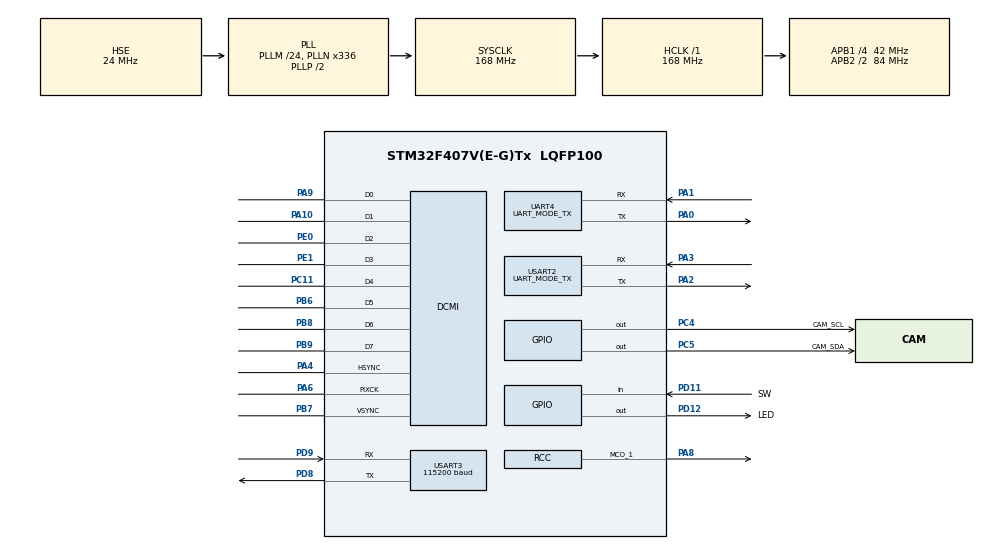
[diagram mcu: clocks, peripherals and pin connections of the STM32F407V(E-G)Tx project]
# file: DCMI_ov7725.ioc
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DCMI.HSPolarity=DCMI_HSPOLARITY_LOW
DCMI.PCKPolarity=DCMI_PCKPOLARITY_RISING
DCMI.VSPolarity=DCMI_VSPOLARITY_HIGH
Dma.DCMI.0.Channel=DMA_CHANNEL_1
Dma.DCMI.0.Direction=DMA_PERIPH_TO_MEMORY
Dma.DCMI.0.FIFOMode=DMA_FIFOMODE_ENABLE
Dma.DCMI.0.FIFOThreshold=DMA_FIFO_THRESHOLD_FULL
Dma.DCMI.0.Instance=DMA2_Stream1
Dma.DCMI.0.MemBurst=DMA_MBURST_INC4
Dma.DCMI.0.MemDataAlignment=DMA_MDATAALIGN_WORD
Dma.DCMI.0.MemInc=DMA_MINC_ENABLE
Dma.DCMI.0.Mode=DMA_CIRCULAR
Dma.DCMI.0.PeriphBurst=DMA_PBURST_SINGLE
Dma.DCMI.0.PeriphDataAlignment=DMA_PDATAALIGN_WORD
Dma.DCMI.0.PeriphInc=DMA_PINC_DISABLE
Dma.DCMI.0.Priority=DMA_PRIORITY_HIGH
Dma.MEMTOMEM.1.Channel=DMA_CHANNEL_0
Dma.MEMTOMEM.1.Direction=DMA_MEMORY_TO_MEMORY
Dma.MEMTOMEM.1.FIFOMode=DMA_FIFOMODE_ENABLE
Dma.MEMTOMEM.1.FIFOThreshold=DMA_FIFO_THRESHOLD_FULL
Dma.MEMTOMEM.1.Instance=DMA2_Stream5
Dma.MEMTOMEM.1.MemBurst=DMA_MBURST_INC16
Dma.MEMTOMEM.1.MemDataAlignment=DMA_MDATAALIGN_BYTE
Dma.MEMTOMEM.1.MemInc=DMA_MINC_ENABLE
Dma.MEMTOMEM.1.Mode=DMA_NORMAL
Dma.MEMTOMEM.1.PeriphBurst=DMA_PBURST_INC16
Dma.MEMTOMEM.1.PeriphDataAlignment=DMA_PDATAALIGN_BYTE
Dma.MEMTOMEM.1.PeriphInc=DMA_PINC_ENABLE
Dma.MEMTOMEM.1.Priority=DMA_PRIORITY_MEDIUM
Dma.Request0=DCMI
Dma.Request1=MEMTOMEM
Dma.Request2=USART3_TX
Dma.Request3=USART2_TX
Dma.Request4=UART4_TX
Dma.UART4_TX.4.Channel=DMA_CHANNEL_4
Dma.UART4_TX.4.Direction=DMA_MEMORY_TO_PERIPH
Dma.UART4_TX.4.FIFOMode=DMA_FIFOMODE_ENABLE
Dma.UART4_TX.4.FIFOThreshold=DMA_FIFO_THRESHOLD_FULL
Dma.UART4_TX.4.Instance=DMA1_Stream4
Dma.UART4_TX.4.MemBurst=DMA_MBURST_INC16
Dma.UART4_TX.4.MemDataAlignment=DMA_MDATAALIGN_BYTE
Dma.UART4_TX.4.MemInc=DMA_MINC_ENABLE
Dma.UART4_TX.4.Mode=DMA_NORMAL
Dma.UART4_TX.4.PeriphBurst=DMA_PBURST_SINGLE
Dma.UART4_TX.4.PeriphDataAlignment=DMA_PDATAALIGN_BYTE
Dma.UART4_TX.4.PeriphInc=DMA_PINC_DISABLE
Dma.UART4_TX.4.Priority=DMA_PRIORITY_LOW
Dma.USART2_TX.3.Channel=DMA_CHANNEL_4
Dma.USART2_TX.3.Direction=DMA_MEMORY_TO_PERIPH
Dma.USART2_TX.3.FIFOMode=DMA_FIFOMODE_ENABLE
Dma.USART2_TX.3.FIFOThreshold=DMA_FIFO_THRESHOLD_FULL
Dma.USART2_TX.3.Instance=DMA1_Stream6
Dma.USART2_TX.3.MemBurst=DMA_MBURST_INC16
Dma.USART2_TX.3.MemDataAlignment=DMA_MDATAALIGN_BYTE
Dma.USART2_TX.3.MemInc=DMA_MINC_ENABLE
Dma.USART2_TX.3.Mode=DMA_NORMAL
Dma.USART2_TX.3.PeriphBurst=DMA_PBURST_SINGLE
Dma.USART2_TX.3.PeriphDataAlignment=DMA_PDATAALIGN_BYTE
Dma.USART2_TX.3.PeriphInc=DMA_PINC_DISABLE
Dma.USART2_TX.3.Priority=DMA_PRIORITY_LOW
Dma.USART3_TX.2.Channel=DMA_CHANNEL_4
Dma.USART3_TX.2.Direction=DMA_MEMORY_TO_PERIPH
Dma.USART3_TX.2.FIFOMode=DMA_FIFOMODE_ENABLE
Dma.USART3_TX.2.FIFOThreshold=DMA_FIFO_THRESHOLD_FULL
Dma.USART3_TX.2.Instance=DMA1_Stream3
Dma.USART3_TX.2.MemBurst=DMA_MBURST_INC16
Dma.USART3_TX.2.MemDataAlignment=DMA_MDATAALIGN_BYTE
Dma.USART3_TX.2.MemInc=DMA_MINC_ENABLE
Dma.USART3_TX.2.Mode=DMA_NORMAL
Dma.USART3_TX.2.PeriphBurst=DMA_PBURST_SINGLE
Dma.USART3_TX.2.PeriphDataAlignment=DMA_PDATAALIGN_BYTE
Dma.USART3_TX.2.PeriphInc=DMA_PINC_DISABLE
Dma.USART3_TX.2.Priority=DMA_PRIORITY_HIGH
Mcu.Family=STM32F4
Mcu.Name=STM32F407V(E-G)Tx
Mcu.Package=LQFP100
NVIC.DCMI_IRQn=true\:4\:0\:true
NVIC.DMA1_Stream3_IRQn=true\:4\:0\:true
NVIC.DMA1_Stream4_IRQn=true\:9\:0\:true
NVIC.DMA1_Stream6_IRQn=true\:9\:0\:true
NVIC.DMA2_Stream1_IRQn=true\:4\:0\:true
NVIC.DMA2_Stream5_IRQn=true\:4\:0\:true
NVIC.PriorityGroup=NVIC_PRIORITYGROUP_4
NVIC.UART4_IRQn=true\:9\:0\:true
NVIC.USART2_IRQn=true\:9\:0\:true
NVIC.USART3_IRQn=true\:4\:0\:true
PA0-WKUP.Mode=Asynchronous
PA0-WKUP.Signal=UART4_TX
PA1.Mode=Asynchronous
PA1.Signal=UART4_RX
PA10.Mode=Slave_8_bits_External_Synchro
PA10.Signal=DCMI_D1
PA13.Mode=Serial-Wire
PA13.Signal=SYS_JTMS-SWDIO
PA14.Mode=Serial-Wire
PA14.Signal=SYS_JTCK-SWCLK
PA2.Mode=Asynchronous
PA2.Signal=USART2_TX
PA3.Mode=Asynchronous
PA3.Signal=USART2_RX
PA4.Mode=Slave_8_bits_External_Synchro
PA4.Signal=DCMI_HSYNC
PA6.Mode=Slave_8_bits_External_Synchro
PA6.Signal=DCMI_PIXCK
PA8.Mode=Clock-out-1
PA8.Signal=RCC_MCO_1
PA9.Mode=Slave_8_bits_External_Synchro
PA9.Signal=DCMI_D0
PB6.Mode=Slave_8_bits_External_Synchro
PB6.Signal=DCMI_D5
PB7.Mode=Slave_8_bits_External_Synchro
PB7.Signal=DCMI_VSYNC
PB8.Mode=Slave_8_bits_External_Synchro
PB8.Signal=DCMI_D6
PB9.Mode=Slave_8_bits_External_Synchro
PB9.Signal=DCMI_D7
PC11.Mode=Slave_8_bits_External_Synchro
PC11.Signal=DCMI_D4
PC4.GPIO_Label=CAM_SCL
PC4.GPIO_ModeDefaultOutputPP=GPIO_MODE_OUTPUT_OD
PC4.GPIO_PuPd=GPIO_PULLUP
PC4.GPIO_Speed=GPIO_SPEED_LOW
PC4.Signal=GPIO_Output
PC5.GPIO_Label=CAM_SDA
PC5.GPIO_ModeDefaultOutputPP=GPIO_MODE_OUTPUT_OD
PC5.GPIO_PuPd=GPIO_PULLUP
PC5.GPIO_Speed=GPIO_SPEED_LOW
PC5.Signal=GPIO_Output
PD11.GPIO_Label=SW
PD11.GPIO_Mode=GPIO_MODE_INPUT
PD11.GPIO_PuPd=GPIO_PULLDOWN
PD11.Signal=GPIO_Input
PD12.GPIO_Label=LED
PD12.GPIO_ModeDefaultOutputPP=GPIO_MODE_OUTPUT_PP
PD12.GPIO_PuPd=GPIO_NOPULL
PD12.GPIO_Speed=GPIO_SPEED_LOW
PD12.Signal=GPIO_Output
PD8.Mode=Asynchronous
PD8.Signal=USART3_TX
PD9.Mode=Asynchronous
PD9.Signal=USART3_RX
PE0.Mode=Slave_8_bits_External_Synchro
PE0.Signal=DCMI_D2
PE1.Mode=Slave_8_bits_External_Synchro
PE1.Signal=DCMI_D3
PH0-OSC_IN.Mode=HSE-External-Oscillator
PH0-OSC_IN.Signal=RCC_OSC_IN
PH1-OSC_OUT.Mode=HSE-External-Oscillator
PH1-OSC_OUT.Signal=RCC_OSC_OUT
ProjectManager.TargetToolchain=MDK-ARM V5
RCC.48MHZClocksFreq_Value=84000000
RCC.AHBFreq_Value=168000000
RCC.APB1CLKDivider=RCC_HCLK_DIV4
RCC.APB1Freq_Value=42000000
RCC.APB1TimFreq_Value=84000000
RCC.APB2CLKDivider=RCC_HCLK_DIV2
RCC.APB2Freq_Value=84000000
RCC.APB2TimFreq_Value=168000000
RCC.CortexFreq_Value=168000000
RCC.HCLKFreq_Value=168000000
RCC.HSE_VALUE=24000000
RCC.HSI_VALUE=16000000
RCC.LSE_VALUE=32768
RCC.PLLM=24
RCC.PLLN=336
RCC.PLLSourceVirtual=RCC_PLLSOURCE_HSE
RCC.RCC_MCO1Source=RCC_MCO1SOURCE_HSE
RCC.SYSCLKFreq_VALUE=168000000
RCC.SYSCLKSource=RCC_SYSCLKSOURCE_PLLCLK
RCC.VCOOutputFreq_Value=336000000
UART4.Mode=UART_MODE_TX
USART2.Mode=UART_MODE_TX
USART3.BaudRate=115200
USART3.Mode=UART_MODE_TX
board=DCMI_ov7725

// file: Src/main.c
/**
  ******************************************************************************
  * File Name          : main.c
  * Description        : Main program body
  ******************************************************************************
  *
  * COPYRIGHT(c) 2015 STMicroelectronics
  *
  * Redistribution and use in source and binary forms, with or without modification,
  * are permitted provided that the following conditions are met:
  *   1. Redistributions of source code must retain the above copyright notice,
  *      this list of conditions and the following disclaimer.
  *   2. Redistributions in binary form must reproduce the above copyright notice,
  *      this list of conditions and the following disclaimer in the documentation
  *      and/or other materials provided with the distribution.
  *   3. Neither the name of STMicroelectronics nor the names of its contributors
  *      may be used to endorse or promote products derived from this software
  *      without specific prior written permission.
  *
  * THIS SOFTWARE IS PROVIDED BY THE COPYRIGHT HOLDERS AND CONTRIBUTORS "AS IS"
  * AND ANY EXPRESS OR IMPLIED WARRANTIES, INCLUDING, BUT NOT LIMITED TO, THE
  * IMPLIED WARRANTIES OF MERCHANTABILITY AND FITNESS FOR A PARTICULAR PURPOSE ARE
  * DISCLAIMED. IN NO EVENT SHALL THE COPYRIGHT HOLDER OR CONTRIBUTORS BE LIABLE
  * FOR ANY DIRECT, INDIRECT, INCIDENTAL, SPECIAL, EXEMPLARY, OR CONSEQUENTIAL
  * DAMAGES (INCLUDING, BUT NOT LIMITED TO, PROCUREMENT OF SUBSTITUTE GOODS OR
  * SERVICES; LOSS OF USE, DATA, OR PROFITS; OR BUSINESS INTERRUPTION) HOWEVER
  * CAUSED AND ON ANY THEORY OF LIABILITY, WHETHER IN CONTRACT, STRICT LIABILITY,
  * OR TORT (INCLUDING NEGLIGENCE OR OTHERWISE) ARISING IN ANY WAY OUT OF THE USE
  * OF THIS SOFTWARE, EVEN IF ADVISED OF THE POSSIBILITY OF SUCH DAMAGE.
  *
  ******************************************************************************
  */
#include "stm32f4xx_hal.h"
#include "dcmi.h"
#include "dma.h"
#include "usart.h"
#include "gpio.h"

/* USER CODE BEGIN Includes */
#include "ov7725.h"
#include "processImg.h"
/* USER CODE END Includes */

/* USER CODE BEGIN PV */

struct IMG_frame{
#if (int!=int32_t)
	#warning "请根据系统位数手动对齐ImgData"
#endif
	uint8_t dummy1;
	uint8_t dummy2;//为了对齐用

	volatile uint8_t FrameState;
	uint8_t head;
	uint8_t ImgData[IMG_HEIGHT][IMG_WIDTH];//head和ImGdata之间必须连续，发送图像需要

} __attribute__ ((aligned (4)));

struct IMG_frame img_frame;
#if (int!=int32_t)
	#warning "请根据系统位数手动对齐ImgData"
#endif

uint8_t ImgRawData[IMG_HEIGHT][IMG_WIDTH][2] __attribute__ ((aligned (4)));

uint32_t missedframe = 0;//因为处理不级而错过的帧数
uint32_t missedfps = 0;

/* Private variables ---------------------------------------------------------*/

/* USER CODE END PV */

void SystemClock_Config(void);

/* USER CODE BEGIN PFP */
/* Private function prototypes -----------------------------------------------*/

/* USER CODE END PFP */

/* USER CODE BEGIN 0 */
enum FrameState{
	FrameNotRefreshed = 0,
	FrameRefreshed = 1,
	FrameDMASyncError = 2
};

uint32_t FrameDMASyncError_cnt = 0;
uint32_t FrameDMASyncError_NDTR;
void HAL_DCMI_FrameEventCallback(DCMI_HandleTypeDef *hdcmi)
{
	FrameDMASyncError_NDTR =  hdcmi->DMA_Handle->Instance->NDTR;
	if(hdcmi->DMA_Handle->Instance->NDTR != IMG_WIDTH*IMG_HEIGHT*2/4)
	{

		FrameDMASyncError_cnt ++;
		img_frame.FrameState = FrameDMASyncError;
	}else if(img_frame.FrameState	== FrameNotRefreshed)//数据没有更新
	{
		starttime = HAL_GetTick();
		//复制缓冲区图像
		for(uint32_t ii = 0; ii< IMG_HEIGHT ; ii++)
			for(uint32_t jj = 0; jj< IMG_WIDTH ; jj++)
				img_frame.ImgData[ii][jj] = ImgRawData[ii][jj][0];
		img_frame.FrameState = FrameRefreshed;
	}
	else
	{
		missedframe++;
	}

	HAL_GPIO_TogglePin(GPIOD,GPIO_PIN_12);
}

void HAL_SYSTICK_Callback(void)
{
//	static uint32_t missedframe_lastsecond = 0;
//	if(HAL_GetTick()%1000 == 0)//到了整数的毫秒处
//	{
//		missedfps = missedframe - missedframe_lastsecond;
//		missedframe_lastsecond = missedframe;
//	}
}
/* USER CODE END 0 */

int main(void)
{

  /* USER CODE BEGIN 1 */
	img_frame.head = 0xff;
	img_frame.FrameState = FrameNotRefreshed;

  /* USER CODE END 1 */

  /* MCU Configuration----------------------------------------------------------*/

  /* Reset of all peripherals, Initializes the Flash interface and the Systick. */
  HAL_Init();

  /* Configure the system clock */
  SystemClock_Config();

  /* Initialize all configured peripherals */
  MX_GPIO_Init();
  MX_DMA_Init();
  MX_DCMI_Init();
  MX_UART4_Init();
  MX_USART2_UART_Init();
  MX_USART3_UART_Init();

  /* USER CODE BEGIN 2 */

	if(sccb_Init())
		while(1)
			;
	if(ov7725_Init())
		while(1)
			;

  __HAL_DCMI_DISABLE_IT(&hdcmi, DCMI_IT_LINE);
  __HAL_DCMI_DISABLE_IT(&hdcmi, DCMI_IT_VSYNC);

	__HAL_DCMI_DISABLE(&hdcmi);

	HAL_DCMI_ConfigCROP(&hdcmi,0,0,IMG_WIDTH*2-1,IMG_HEIGHT-1);
	HAL_DCMI_EnableCROP(&hdcmi);
	__HAL_DCMI_ENABLE(&hdcmi);

	HAL_DCMI_Start_DMA(&hdcmi,DCMI_MODE_CONTINUOUS,(uint32_t)ImgRawData,IMG_WIDTH*IMG_HEIGHT*2/4);
//	HAL_UART_Transmit_DMA(&huart4,(uint8_t*)&(img_frame.head),IMG_WIDTH*IMG_HEIGHT+1);

  /* USER CODE END 2 */

  /* Infinite loop */
  while (1)
  {

  /* USER CODE BEGIN 3 */

		if(img_frame.FrameState == FrameDMASyncError)
		{
//			HAL_DCMI_Stop(&hdcmi);不能调用此函数，CR的bit14为使能，在INIT中置位，不在HAL_DCMI_Start中置位，所以停止后便无法再次开启
			HAL_DMA_Abort(hdcmi.DMA_Handle);
			HAL_DCMI_Start_DMA(&hdcmi,DCMI_MODE_CONTINUOUS,(uint32_t)ImgRawData,IMG_WIDTH*IMG_HEIGHT*2/4);
			img_frame.FrameState = FrameNotRefreshed;
		}
		else if(img_frame.FrameState == FrameRefreshed)
		{
			//ProcessFrame Begin

			processImg(img_frame.ImgData);

			//ProcessFrame End
			img_frame.FrameState = FrameNotRefreshed;
		}
	}
  /* USER CODE END 3 */

}

/** System Clock Configuration
*/
void SystemClock_Config(void)
{

  RCC_OscInitTypeDef RCC_OscInitStruct;
  RCC_ClkInitTypeDef RCC_ClkInitStruct;

  __PWR_CLK_ENABLE();

  __HAL_PWR_VOLTAGESCALING_CONFIG(PWR_REGULATOR_VOLTAGE_SCALE1);

  RCC_OscInitStruct.OscillatorType = RCC_OSCILLATORTYPE_HSE;
  RCC_OscInitStruct.HSEState = RCC_HSE_ON;
  RCC_OscInitStruct.PLL.PLLState = RCC_PLL_ON;
  RCC_OscInitStruct.PLL.PLLSource = RCC_PLLSOURCE_HSE;
  RCC_OscInitStruct.PLL.PLLM = 24;
  RCC_OscInitStruct.PLL.PLLN = 336;
  RCC_OscInitStruct.PLL.PLLP = RCC_PLLP_DIV2;
  RCC_OscInitStruct.PLL.PLLQ = 4;
  HAL_RCC_OscConfig(&RCC_OscInitStruct);

  RCC_ClkInitStruct.ClockType = RCC_CLOCKTYPE_SYSCLK|RCC_CLOCKTYPE_PCLK1
                              |RCC_CLOCKTYPE_PCLK2;
  RCC_ClkInitStruct.SYSCLKSource = RCC_SYSCLKSOURCE_PLLCLK;
  RCC_ClkInitStruct.AHBCLKDivider = RCC_SYSCLK_DIV1;
  RCC_ClkInitStruct.APB1CLKDivider = RCC_HCLK_DIV4;
  RCC_ClkInitStruct.APB2CLKDivider = RCC_HCLK_DIV2;
  HAL_RCC_ClockConfig(&RCC_ClkInitStruct, FLASH_LATENCY_5);

  HAL_RCC_MCOConfig(RCC_MCO1, RCC_MCO1SOURCE_HSE, RCC_MCODIV_1);

  HAL_SYSTICK_Config(HAL_RCC_GetHCLKFreq()/1000);

  HAL_SYSTICK_CLKSourceConfig(SYSTICK_CLKSOURCE_HCLK);

}

/************************ (C) COPYRIGHT STMicroelectronics *****END OF FILE****/
